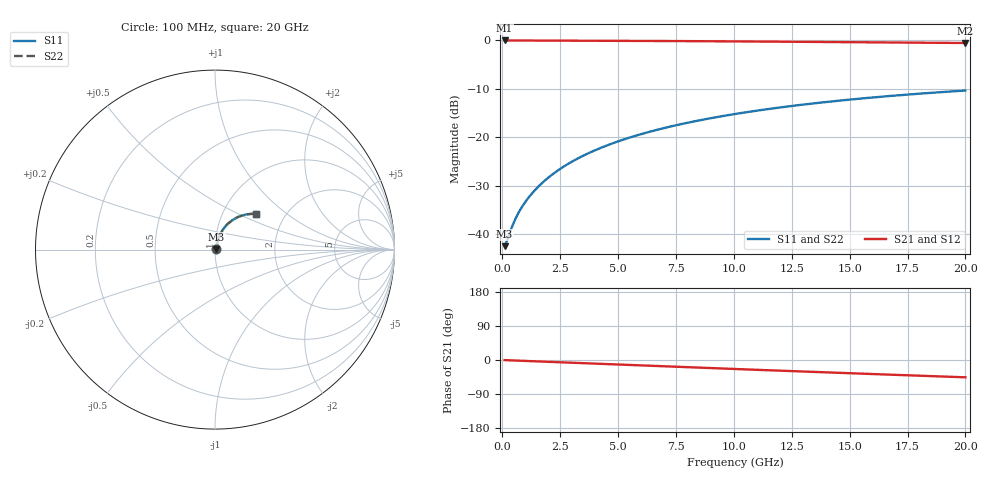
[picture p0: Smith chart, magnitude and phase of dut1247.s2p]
! Touchstone file exported from HFSS 2026.1.0
!  File:  C:/ffzhzh/LocalFiles/Ansys_Project_Files/temp_train_BSMRDL_1247_1783177260_22436.aedt
!  Generated:  11:02:07 PM Jul  4, 2026
!  Design:  BSMRDL
!  Project:  temp_train_BSMRDL_1247_1783177260_22436
! Variables:
!  h_bsmrdl = 2.33um
!  h_ox = 20um
!  h_rdl = 5um
!  h_sub = 80um
!  h_tmrdl = 5um
!  h_tsv = 80um
!  h_via = 3um
!  l_bsmrdl = 751.92um
!  l_sub = 1151.92um
!  l_tmrdl = 200um
!  m_sub = 200um
!  pitch = 26.65um
!  r_tsv = 6um
!  s_tmrdl = 10um
!  w_bsmrdl = 16.12um
!  w_sub = 500um
!  w_tmrdl = 12um
!  x_tsv_center1 = 206um
!  x_tsv_center2 = 974.04um
!  x_tsv_center3 = 1186.04um
!  x_tsv_center4 = 1954.08um
!  x_tsv_center5 = 2166.08um
!  x_tsv_center6 = 2934.12um
# GHz S MA R 50.000000
! Terminal data exported
! Port[1] = BSM_RDL1_1_T1
! Port[2] = BSM_RDL1_1_T2
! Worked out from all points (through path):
!   200 points, 100 MHz to 20 GHz, reference 50 ohm
!   highest |S21| = -0.06 dB at 100 MHz (marker M1); lowest = -0.6 dB at 20 GHz (marker M2)
!   group delay of S21, straight-line fit = 6.35 ps
!   lowest |S11| = -42.5 dB at 100 MHz (marker M3), VSWR 1.02, Z = 50.7 + j0.222 ohm
!   |S11| at or under -10 dB: start of sweep to end of sweep
!   |S22| runs from -42.5 to -10.4 dB; largest |S21 - S12| = 2.6e-15
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0.1  0.00754 16.9  0.9928 -0.3  0.9928 -0.3  0.00754 16.9
! Gamma 0 0 0 0
! Port Impedance 50 0 50 0
0.2  0.008575 30.4  0.9926 -0.5  0.9926 -0.5  0.008575 30.4
0.4  0.0116 46.4  0.9921 -1.0  0.9921 -1.0  0.0116 46.4
0.5  0.01327 51.1  0.9918 -1.3  0.9918 -1.3  0.01327 51.1
0.7  0.01663 57.1  0.9913 -1.8  0.9913 -1.8  0.01663 57.1
1  0.02164 62.5  0.9907 -2.5  0.9907 -2.5  0.02164 62.5
1.3  0.02665 65.9  0.9902 -3.2  0.9902 -3.2  0.02665 65.9
1.5  0.03002 67.5  0.9899 -3.7  0.9899 -3.7  0.03002 67.5
1.8  0.03511 69.3  0.9896 -4.4  0.9896 -4.4  0.03511 69.3
2.3  0.0437 71.0  0.989 -5.6  0.989 -5.6  0.0437 71.0
2.9  0.05412 72.0  0.9882 -7.0  0.9882 -7.0  0.05412 71.9
3.5  0.06457 72.1  0.9874 -8.4  0.9874 -8.4  0.06457 72.1
4.2  0.07675 71.8  0.9862 -10.1  0.9862 -10.1  0.07675 71.8
5  0.09058 70.9  0.9847 -12.0  0.9847 -12.0  0.09058 70.9
5.9  0.106 69.6  0.9828 -14.1  0.9828 -14.1  0.106 69.6
6.8  0.1211 68.1  0.9806 -16.2  0.9806 -16.2  0.1211 68.1
8.3  0.1458 65.3  0.9765 -19.7  0.9765 -19.7  0.1458 65.2
10.1  0.1742 61.6  0.9709 -23.9  0.9709 -23.9  0.1742 61.6
11.7  0.1982 58.3  0.9654 -27.5  0.9654 -27.5  0.1982 58.2
13.4  0.2225 54.7  0.9593 -31.3  0.9593 -31.3  0.2225 54.6
16.7  0.2654 47.8  0.9468 -38.6  0.9468 -38.6  0.2654 47.7
20  0.3027 41.0  0.9345 -45.7  0.9345 -45.7  0.3027 40.9
